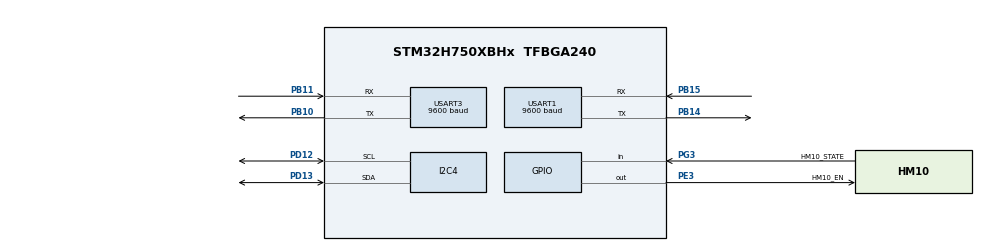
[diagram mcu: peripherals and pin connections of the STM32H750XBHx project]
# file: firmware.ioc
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CORTEX_M7.default_mode_Activation=1
I2C4.Timing=0x00707CBB
Mcu.Family=STM32H7
Mcu.Name=STM32H750XBHx
Mcu.Package=TFBGA240
NVIC.PriorityGroup=NVIC_PRIORITYGROUP_4
PB10.Mode=Asynchronous
PB10.Signal=USART3_TX
PB11.Mode=Asynchronous
PB11.Signal=USART3_RX
PB14.Mode=Asynchronous
PB14.Signal=USART1_TX
PB15.Mode=Asynchronous
PB15.Signal=USART1_RX
PD12.Mode=I2C
PD12.Signal=I2C4_SCL
PD13.Mode=I2C
PD13.Signal=I2C4_SDA
PE3.GPIO_Label=HM10_EN
PE3.PinState=GPIO_PIN_SET
PE3.Signal=GPIO_Output
PG3.GPIO_Label=HM10_STATE
PG3.Signal=GPIO_Input
ProjectManager.HeapSize=0x200
ProjectManager.StackSize=0x400
ProjectManager.TargetToolchain=CMake
RCC.ADCFreq_Value=129000000
RCC.APB1Freq_Value=32000000
RCC.APB2Freq_Value=32000000
RCC.APB3Freq_Value=64000000
RCC.APB4Freq_Value=32000000
RCC.CortexFreq_Value=64000000
RCC.D2PPRE1=RCC_APB1_DIV2
RCC.D2PPRE2=RCC_APB2_DIV2
RCC.D3PPRE=RCC_APB4_DIV2
RCC.HCLKFreq_Value=64000000
RCC.SYSCLKFreq_VALUE=64000000
RCC.USBFreq_Value=129000000
USART1.BaudRate=9600
USART1.VirtualMode-Asynchronous=VM_ASYNC
USART3.BaudRate=9600
USART3.VirtualMode-Asynchronous=VM_ASYNC
VP_FREERTOS_VS_CMSIS_V2.Mode=CMSIS_V2
VP_MEMORYMAP_VS_MEMORYMAP.Mode=CurAppReg
board=custom

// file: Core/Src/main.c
/* USER CODE BEGIN Header */
/**
  *=============================================================================
  * @file    : main.c
  * @brief   : Main program body
  *=============================================================================
  * @attention
  *
  * Copyright (c) 2026 STMicroelectronics.
  * All rights reserved.
  *
  * This software is licensed under terms that can be found in the LICENSE file
  * in the root directory of this software component.
  * If no LICENSE file comes with this software, it is provided AS-IS.
  *
  *=============================================================================
  */

/**=============================================================================
  * trail-hud hardware wiring
  * STM32H750B-DK + HM-10 AT-09 BLE + Keyestudio MPU-6050 + protoboard
  *
  *=============================================================================
  * PROTOBOARD / SHARED POWER BUSES
  *=============================================================================
  *
  * STM32H750B-DK CN3 pin 6 GND -> protoboard bus GND
  *
  *
  *=============================================================================
  * HM-10 BLE MODULE
  *=============================================================================
  *
  * STM32H750B-DK CN3 pin 5 5V -> HM-10 HM-10 AT-09 VCC
  * protoboard bus GND -> HM-10 HM-10 AT-09 GND
  *
  * HM-10 HM-10 AT-09 TXD / UART_TX -> STM32H750B-DK CN2 D11 / PB15 / USART1_RX
  * HM-10 HM-10 AT-09 RXD / UART_RX -> STM32H750B-DK STMod+ P1 pin 9 / PB14 / USART1_TX
  * HM-10 HM-10 AT-09 STATE -> STM32H750B-DK CN6 D2 / PG3
  * HM-10 HM-10 AT-09 EN -> STM32H750B-DK PE3
  *
  *
  *=============================================================================
  * KEYESTUDIO MPU-6050 GYROSCOPE / ACCELEROMETER MODULE
  *=============================================================================
  *
  * STM32H750B-DK CN3 pin 4 3V3 -> Keyestudio MPU-6050 VCC
  * protoboard bus GND -> Keyestudio MPU-6050 GND
  *
  * Keyestudio MPU-6050 SCL -> STM32H750B-DK CN2 D15 / PD12 / I2C4_SCL
  * Keyestudio MPU-6050 SDA -> STM32H750B-DK CN2 D14 / PD13 / I2C4_SDA
  * Keyestudio MPU-6050 AD0 -> protoboard bus GND
  * Keyestudio MPU-6050 INT -> STM32H750B-DK CN2 D9 / PH15
  *
  * Keyestudio MPU-6050 XDA -> no connection
  * Keyestudio MPU-6050 XCL -> no connection
  *
  *=============================================================================
  */

/**=============================================================================
  * SERIAL DEBUG TERMINAL / ST-LINK VIRTUAL COM PORT
  *=============================================================================
  *
  * Purpose:
  * - Use USART3 only for local PC-side firmware debugging.
  * - Keep USART3 separate from the HM-10 / BT05 / AT-09 BLE data path.
  *
  * Communication path:
  *   STM32 firmware -> USART3 -> ST-LINK Virtual COM Port -> PuTTY
  *
  * PuTTY settings:
  * - Port        : STMicroelectronics STLink Virtual COM Port
  * - Baud        : 9600
  * - Data bits   : 8
  * - Stop bits   : 1
  * - Parity      : None
  * - Flow control: None
  *
  * Notes:
  * - On Windows, use the COM port shown in Device Manager under
  *   "Ports (COM & LPT)".
  * - Expected debug output includes firmware status messages, HM-10 STATE
  *   changes, and USART1 receive logs.
  *
  *
  *=============================================================================
  * PHONE BLE TERMINAL / HM-10 UART BRIDGE
  *=============================================================================
  *
  * Purpose:
  * - Use the phone terminal to validate the BLE data path through the HM-10.
  * - Confirm both directions:
  *   - STM32 -> phone
  *   - phone -> STM32
  *
  * Communication path:
  *   Phone app <-> BLE <-> HM-10 <-> USART1 <-> STM32 firmware
  *
  * Recommended Android app:
  * - Serial Bluetooth Terminal by Kai Morich
  *
  * Serial Bluetooth Terminal app setup:
  * - Open Devices.
  * - Select the Bluetooth LE / BLE list, not Bluetooth Classic.
  * - Scan for BT05 or the configured HM-10 name (set to TRAIL-HUD by default).
  * - Connect and stay on the main terminal screen.
  *
  *
  *=============================================================================
  */
/* USER CODE END Header */
#include "main.h"
#include "FreeRTOS.h"
#include "cmsis_os2.h"

/* USER CODE BEGIN Includes */
#include "hm10.h"
#include "mpu6050.h"
#include "debug_terminal.h"
#include "trail_gui.h"
#include "stm32h750b_discovery_lcd.h"
#include "stm32_lcd.h"

#include "task.h"

#include <malloc.h>
#include <math.h>
#include <stdio.h>
#include <string.h>
/* USER CODE END Includes */

/* USER CODE BEGIN PTD */
typedef struct
{
    GPIO_TypeDef* GPIO_Port;
    uint16_t GPIO_Pin;
    uint16_t GPIO_DefaultState;
} LED_HandleTypeDef;

/**
 * @brief Lists the tilt alert stages reported to the phone over BLE.
 *
 * Values:
 * - TILT_ALERT_STATE_CLEAR: Tilt is under the warning threshold. The phone is
 *   not vibrating and a fresh warning crossing may fire again.
 * - TILT_ALERT_STATE_WARNING: Tilt crossed the warning threshold, so the phone
 *   was asked for one single vibration. Held so that staying tilted does not
 *   repeat the buzz on every poll.
 * - TILT_ALERT_STATE_CRITICAL: Tilt crossed the critical threshold and the
 *   phone is vibrating continuously. Only falling back under the warning
 *   threshold releases it, not merely dropping under the critical one.
 */
typedef enum
{
    TILT_ALERT_STATE_CLEAR = 0,
    TILT_ALERT_STATE_WARNING,
    TILT_ALERT_STATE_CRITICAL,
} TrailHud_TiltAlertState;
/* USER CODE END PTD */

/* USER CODE BEGIN PD */
/* Board and system --------------------------------------------------------*/
#define TRAIL_HUD_LCD_INSTANCE 0U
#define TRAIL_HUD_LOADING_STAGE_COUNT 4U
#define LED_HANDLE_COUNT 3U
#define MPU6050_DEBUG_UPDATE_PERIOD_MS 1000U
#define HM10_DEBUG_UPDATE_PERIOD_MS 1000U
#define HM10_DROP_REPORT_PERIOD_MS 2000U

/* Phone render ------------------------------------------------------------*/
#define PHONE_RENDER_MARGIN 6U
#define PHONE_RENDER_PADDING 12U
#define PHONE_RENDER_LINE_WIDTH 1U
#define PHONE_RENDER_LINE_COLOR UTIL_LCD_COLOR_WHITE
#define PHONE_RENDER_CLEAR_COLOR UTIL_LCD_COLOR_BLACK

/* Tilt indicator render ---------------------------------------------------*/
#define TILT_RENDER_MARGIN 6U
#define TILT_RENDER_UPDATE_PERIOD_MS 500U
#define TILT_SAMPLE_PERIOD_MS 50U
#define TILT_FILTER_ALPHA 0.25f
#define TILT_RENDER_LINE_WIDTH TRAIL_GUI_LINE_WIDTH_THIN
#define TILT_RENDER_LINE_COLOR UTIL_LCD_COLOR_BLACK
#define TILT_RENDER_CLEAR_COLOR UTIL_LCD_COLOR_WHITE

/* Tilt alert --------------------------------------------------------------*/
#define TILT_ALERT_WARNING_DEG 20.0f
#define TILT_ALERT_CRITICAL_DEG 25.0f
#define TILT_ALERT_PACKET_SINGLE "trailhud:vibrate:once"
#define TILT_ALERT_PACKET_CONTINUOUS "trailhud:vibrate:start"
#define TILT_ALERT_PACKET_CLEAR "trailhud:vibrate:stop"
/* USER CODE END PD */

I2C_HandleTypeDef hi2c4;
UART_HandleTypeDef huart1;
UART_HandleTypeDef huart3;

/* USER CODE BEGIN PV */
static HM10_HandleTypeDef hm10;
static MPU6050_HandleTypeDef mpu6050;

/* HM-10 USART1 RX ISR state. These belong here, not in hm10.h, because only
 * HAL_UART_RxCpltCallback/HAL_UART_ErrorCallback below ever touch them. */
static uint8_t hm10_uart_rx_byte;
static uint16_t hm10_isr_line_len = 0U;
static char hm10_isr_line[HM10_DEFAULT_LINE_SIZE];

/* Set once a line outgrows hm10_isr_line, and cleared at the next newline.
 * Without it the tail of an over-long line would be parsed as a fresh packet. */
static uint8_t hm10_isr_line_overflow = 0U;

/* Counts render messages the ISR could not queue. Surfaced by MainThread so
 * backpressure shows up on the terminal instead of silently losing frames. */
static volatile uint32_t hm10_render_queue_drops = 0U;

osSemaphoreId_t hm10_top_led_semaphore;
osSemaphoreId_t hm10_bottom_led_semaphore;
osMessageQueueId_t hm10_render_queue;

static volatile uint8_t hm10_ping_reply_flag = 0U;
static volatile DebugTerminalMode debug_terminal_mode = DEBUG_TERMINAL_MODE_WAITING;
static volatile GPIO_PinState hm10_connection_state = GPIO_PIN_RESET;
static TrailHud_TiltAlertState tilt_alert_state = TILT_ALERT_STATE_CLEAR;

/* Set once the LCD is far enough up that TrailHud_Fatal can draw on it. */
static uint8_t trail_hud_lcd_ready = 0U;

/* Rolling average of the tilt samples, held as a packet so it can be handed
 * straight to the renderer. Primed by the first successful read. */
static MPU6050_DataPacket tilt_filtered_packet;
static uint8_t tilt_filter_primed = 0U;

/* Latches the one-shot warning about packets arriving while HM10_STATE is low. */
static uint8_t hm10_state_mismatch_reported = 0U;

static const LED_HandleTypeDef led_handles[LED_HANDLE_COUNT] = {
    {GPIOD, GPIO_PIN_3, GPIO_PIN_RESET},
    {GPIOJ, GPIO_PIN_2, GPIO_PIN_SET},
    {GPIOI, GPIO_PIN_13, GPIO_PIN_SET},
};
static const TrailGui_BoundingBox phone_render_bounds = {
    .x_min = 241U + (PHONE_RENDER_MARGIN + PHONE_RENDER_PADDING),
    .x_max = 479U - (PHONE_RENDER_MARGIN + PHONE_RENDER_PADDING),
    .y_min = 0U + (PHONE_RENDER_MARGIN + PHONE_RENDER_PADDING),
    .y_max = 239U - (PHONE_RENDER_MARGIN + PHONE_RENDER_PADDING),
};
static const TrailGui_BoundingBox phone_render_padding_bounds = {
    .x_min = phone_render_bounds.x_min - PHONE_RENDER_PADDING,
    .x_max = phone_render_bounds.x_max + PHONE_RENDER_PADDING,
    .y_min = phone_render_bounds.y_min - PHONE_RENDER_PADDING,
    .y_max = phone_render_bounds.y_max + PHONE_RENDER_PADDING,
};
static const TrailGui_BoundingBox phone_gps_bounds = {
    .x_min = phone_render_bounds.x_min,
    .x_max = phone_render_bounds.x_max,
    .y_min = phone_render_padding_bounds.y_max + (PHONE_RENDER_MARGIN + PHONE_RENDER_PADDING / 2),
    .y_max = 272U - (PHONE_RENDER_MARGIN + PHONE_RENDER_PADDING / 2),
};
static const TrailGui_BoundingBox phone_gps_padding_bounds = {
    .x_min = phone_gps_bounds.x_min - PHONE_RENDER_PADDING,
    .x_max = phone_gps_bounds.x_max + PHONE_RENDER_PADDING,
    .y_min = phone_gps_bounds.y_min - PHONE_RENDER_PADDING / 2,
    .y_max = phone_gps_bounds.y_max + PHONE_RENDER_PADDING / 2,
};
/* Inset from the gyroscope panel so the clear pass never paints over its
 * rounded corners, and so the widget stays centered on the panel itself. */
static const TrailGui_BoundingBox tilt_render_bounds = {
    .x_min = TRAIL_GUI_GYROSCOPE_BACKGROUND_X_MIN + TILT_RENDER_MARGIN,
    .x_max = TRAIL_GUI_GYROSCOPE_BACKGROUND_X_MAX - TILT_RENDER_MARGIN,
    .y_min = TRAIL_GUI_GYROSCOPE_BACKGROUND_Y_MIN + TILT_RENDER_MARGIN,
    .y_max = TRAIL_GUI_GYROSCOPE_BACKGROUND_Y_MAX - TILT_RENDER_MARGIN,
};

const osThreadAttr_t MainThread_attributes = {
    .name = "MainThread",
    .stack_size = 1024 * 4,
    .priority = (osPriority_t)osPriorityNormal,
};

const osThreadAttr_t HM10Thread_attributes = {
    .name = "HM10Thread",
    .stack_size = 1024 * 4,
    .priority = (osPriority_t)osPriorityNormal,
};
/* USER CODE END PV */

void SystemClock_Config(void);
static void MPU_Config(void);
static void MX_GPIO_Init(void);
static void MX_USART3_UART_Init(void);
static void MX_USART1_UART_Init(void);
static void MX_I2C4_Init(void);
void MainThread(void* argument);

/* USER CODE BEGIN PFP */
/* Board helpers */
static void LED_ToggleSequence(uint32_t delay_ms);
static void TrailHud_Fatal(const char* reason);

/* Tilt alerts */
static void TrailHud_UpdateTiltAlert(float tilt_deg);

/* LCD rendering */
static void TrailHud_ClearPhoneRenderArea(void);
static void TrailHud_RenderPhoneFrame(const HM10_DataPacket* hm10_packet);
static void TrailHud_SampleTilt(uint32_t* last_tick);
static void TrailHud_RenderTiltFrame(void);
static void TrailHud_UpdateTiltFrame(uint32_t* last_tick);

/* Debug terminal */
static uint8_t DebugTask_WaitForPingReply(uint32_t timeout_ms);
static void DebugTask_RunPingSequence(volatile DebugTerminalMode* debug_mode);
static void DebugTask_PrintMpu6050Data(uint32_t* last_tick);
static void DebugTask_ReportQueueDrops(uint32_t* reported_drops, uint32_t* last_tick);

/* RTOS threads */
void HM10_TopLEDThread(void* argument);
void HM10_BottomLEDThread(void* argument);
void HM10_Thread(void* argument);
/* USER CODE END PFP */

/* USER CODE BEGIN 0 */

/**
 * @brief Reports an unrecoverable start-up failure, then halts.
 * @param reason Short description of what failed; NULL is allowed and is
 *               printed as "(null)".
 * @return Never returns.
 *
 * Error_Handler() disables interrupts and spins, so on its own a failed sensor
 * leaves the loading bar frozen with nothing to explain it. Reporting has to
 * happen before that: the debug UART is brought up before the LCD and both
 * modules, so it can describe every failure the board can survive long enough
 * to notice, and the LCD carries the same text once it is available.
 */
static void TrailHud_Fatal(const char* reason)
{
    DebugTerminal_PrintLine(&huart3, reason);

    if (trail_hud_lcd_ready != 0U)
    {
        UTIL_LCD_SetFont(&Font12);
        UTIL_LCD_SetTextColor(UTIL_LCD_COLOR_RED);
        UTIL_LCD_SetBackColor(UTIL_LCD_COLOR_BLACK);
        UTIL_LCD_DisplayStringAt(TRAIL_GUI_SCREEN_MARGIN,
                                 TRAIL_GUI_SCREEN_HEIGHT - 20U,
                                 (uint8_t*)((reason != NULL) ? reason : "(null)"),
                                 LEFT_MODE);
    }

    Error_Handler();
}

/**
 * @brief Toggles a LED sequence, toggling all pins, defined in the led_handles array.
 * @param delay_ms Delay in milliseconds held after each individual LED
 *                 transition. Every LED is switched on for delay_ms and then
 *                 off for delay_ms before the next one starts, so the whole
 *                 sequence takes 2 * LED_HANDLE_COUNT * delay_ms.
 * @return None.
 */
static void LED_ToggleSequence(uint32_t delay_ms)
{
    for (uint16_t led = 0U; led < LED_HANDLE_COUNT; led++)
    {
        HAL_GPIO_TogglePin(led_handles[led].GPIO_Port, led_handles[led].GPIO_Pin);
        HAL_Delay(delay_ms);
        HAL_GPIO_TogglePin(led_handles[led].GPIO_Port, led_handles[led].GPIO_Pin);
        HAL_Delay(delay_ms);
    }
}

/**
 * @brief Drives the phone vibration alert from one tilt angle.
 * @param tilt_deg Tilt angle in degrees as reported by
 *                 TrailGui_TiltAngleFromAccelerometer. The sign only selects
 *                 the direction of the lean, so the thresholds are compared
 *                 against its magnitude and fire either way.
 * @return None.
 *
 * Sends a packet only on a stage change, so a steady lean costs one BLE write
 * rather than one per poll. Crossing TILT_ALERT_WARNING_DEG asks for a single
 * buzz; crossing TILT_ALERT_CRITICAL_DEG asks for continuous vibration that is
 * released only once the tilt falls back under TILT_ALERT_WARNING_DEG, so the
 * two thresholds form a hysteresis band that will not chatter around 25
 * degrees. Nothing is sent while the BLE link is down.
 */
static void TrailHud_UpdateTiltAlert(float tilt_deg)
{
    float tilt_magnitude_deg = fabsf(tilt_deg);
    const char* alert_packet = NULL;

    if (hm10_connection_state != GPIO_PIN_SET)
    {
        /* Nothing can be delivered, and the phone drops its own vibration when
         * the link goes away, so re-arm from a clean slate for the next one. */
        tilt_alert_state = TILT_ALERT_STATE_CLEAR;
        return;
    }

    if (tilt_alert_state == TILT_ALERT_STATE_CRITICAL)
    {
        if (tilt_magnitude_deg < TILT_ALERT_WARNING_DEG)
        {
            tilt_alert_state = TILT_ALERT_STATE_CLEAR;
            alert_packet = TILT_ALERT_PACKET_CLEAR "\r\n";
        }
    }
    else if (tilt_magnitude_deg >= TILT_ALERT_CRITICAL_DEG)
    {
        tilt_alert_state = TILT_ALERT_STATE_CRITICAL;
        alert_packet = TILT_ALERT_PACKET_CONTINUOUS "\r\n";
    }
    else if (tilt_magnitude_deg >= TILT_ALERT_WARNING_DEG)
    {
        if (tilt_alert_state == TILT_ALERT_STATE_CLEAR)
        {
            tilt_alert_state = TILT_ALERT_STATE_WARNING;
            alert_packet = TILT_ALERT_PACKET_SINGLE "\r\n";
        }
    }
    else
    {
        tilt_alert_state = TILT_ALERT_STATE_CLEAR;
    }

    if (alert_packet != NULL)
    {
        (void)HM10_SendString(&hm10, alert_packet);
    }
}

/**
 * @brief Fills the phone render area with the solid clear color.
 * @return None.
 */
static void TrailHud_ClearPhoneRenderArea(void)
{
    TrailGui_DrawRoundedRectangle(phone_render_bounds, 0U, PHONE_RENDER_CLEAR_COLOR);
    TrailGui_DrawRoundedRectangle(phone_gps_bounds, 0U, PHONE_RENDER_CLEAR_COLOR);
}

/**
 * @brief Redraws the phone orientation cuboid for one parsed HM-10 packet.
 * @param hm10_packet Parsed HM-10 data packet holding the phone orientation
 *                    quaternion fields; NULL is not allowed.
 * @return None.
 *
 * Deliberately not gated on hm10_connection_state. A packet that arrived and
 * parsed is proof the link is up, whatever the STATE pin reads, so gating here
 * could only ever discard data the board actually received.
 */
static void TrailHud_RenderPhoneFrame(const HM10_DataPacket* hm10_packet)
{
    if (hm10_packet == NULL)
    {
        return;
    }

    TrailHud_ClearPhoneRenderArea();
    TrailGui_RenderPhoneCuboid(hm10_packet,
                             phone_render_bounds,
                             PHONE_RENDER_LINE_WIDTH,
                             PHONE_RENDER_LINE_COLOR);
    TrailGui_RenderPhoneGps(hm10_packet, phone_gps_bounds, UTIL_LCD_COLOR_WHITE);
}

/**
 * @brief Samples the MPU-6050 and folds the reading into the tilt average.
 * @param last_tick Pointer to the HAL tick value recorded at the last sample.
 *                  NULL is not allowed. Updated on every attempt, whether the
 *                  sensor read succeeds or fails.
 * @return None.
 *
 * Sampling runs far faster than the widget redraws so the displayed angle is
 * an average rather than whatever single instant the redraw happened to land
 * on. The average is taken over the accelerometer components rather than the
 * derived angle: an exponential average across the +/-180 degree wrap would
 * drag the needle the long way round through the discontinuity.
 */
static void TrailHud_SampleTilt(uint32_t* last_tick)
{
    MPU6050_DataPacket packet;

    if ((HAL_GetTick() - *last_tick) < TILT_SAMPLE_PERIOD_MS)
    {
        return;
    }

    *last_tick = HAL_GetTick();

    if (MPU6050_ReadDataPacket(&mpu6050, &packet) != MPU6050_OK)
    {
        return;
    }

    if (tilt_filter_primed != 0U)
    {
        packet.accel_x_g = tilt_filtered_packet.accel_x_g +
            (TILT_FILTER_ALPHA * (packet.accel_x_g - tilt_filtered_packet.accel_x_g));
        packet.accel_y_g = tilt_filtered_packet.accel_y_g +
            (TILT_FILTER_ALPHA * (packet.accel_y_g - tilt_filtered_packet.accel_y_g));
    }

    tilt_filtered_packet = packet;
    tilt_filter_primed = 1U;
}

/**
 * @brief Redraws the tilt indicator widget from one fresh MPU-6050 sample.
 * @return None.
 *
 * The previous frame is erased before the new one is drawn, so the widget area
 * is left filled with TILT_RENDER_CLEAR_COLOR and never accumulates leftovers
 * from an earlier angle. A failed sensor read leaves the last drawn frame on
 * the LCD instead of blanking the widget. The same sample also drives the
 * phone vibration alert, so the alert runs at the redraw rate.
 */
static void TrailHud_RenderTiltFrame(void)
{
    if (tilt_filter_primed == 0U)
    {
        return;
    }

    TrailGui_DrawRoundedRectangle(tilt_render_bounds, 0U, TILT_RENDER_CLEAR_COLOR);
    TrailGui_RenderTiltIndicator(&tilt_filtered_packet,
                                 tilt_render_bounds,
                                 TILT_RENDER_LINE_WIDTH,
                                 TILT_RENDER_LINE_COLOR,
                                 TILT_RENDER_CLEAR_COLOR);
    TrailHud_UpdateTiltAlert(TrailGui_TiltAngleFromAccelerometer(&tilt_filtered_packet));
}

/**
 * @brief Redraws the tilt indicator widget at a fixed periodic interval.
 * @param last_tick Pointer to the HAL tick value recorded at the last redraw.
 *                  NULL is not allowed. Updated to the current tick after each
 *                  redraw attempt, whether the sensor read succeeds or fails.
 * @return None.
 */
static void TrailHud_UpdateTiltFrame(uint32_t* last_tick)
{
    if ((HAL_GetTick() - *last_tick) < TILT_RENDER_UPDATE_PERIOD_MS)
    {
        return;
    }

    TrailHud_RenderTiltFrame();

    *last_tick = HAL_GetTick();
}

/**
 * @brief Blocks until a ping reply is received over BLE or the timeout elapses.
 * @param timeout_ms Maximum time to wait for a matching reply in milliseconds.
 *                   The function yields to the RTOS scheduler between polls.
 * @return 1 when a ping reply was received before the timeout expired; 0 when
 *         the timeout elapsed without a matching reply.
 */
static uint8_t DebugTask_WaitForPingReply(uint32_t timeout_ms)
{
    uint32_t start_tick = HAL_GetTick();

    /* The caller arms hm10_ping_reply_flag before it transmits. Clearing it
     * here would discard a reply that had already arrived. */
    while ((HAL_GetTick() - start_tick) < timeout_ms)
    {
        if (hm10_ping_reply_flag != 0U)
        {
            hm10_ping_reply_flag = 0U;
            return 1U;
        }

        osDelay(1U);
    }

    return 0U;
}

/**
 * @brief Sends a fixed-count BLE ping sequence and reports each reply result.
 * @param debug_mode Pointer to the active debug terminal mode. NULL is not
 *                   allowed. Set to DEBUG_TERMINAL_MODE_WAITING after the
 *                   full sequence completes.
 * @return None.
 */
static void DebugTask_RunPingSequence(volatile DebugTerminalMode* debug_mode)
{
    DebugTerminal_PrintLine(&huart3, "BLE: pinging phone with 4 packets of data");

    for (uint8_t ping_index = 0U; ping_index < DEBUG_TERMINAL_PING_COUNT; ping_index++)
    {
        uint8_t reply_received = 0U;

        if (hm10_connection_state == GPIO_PIN_SET)
        {
            /* Armed before transmitting: a reply that lands while the ping is
             * still on the wire would otherwise be cleared by the waiter and
             * reported as no reply at all. */
            hm10_ping_reply_flag = 0U;

            if (HM10_SendString(&hm10, DEBUG_TERMINAL_PING_PACKET "\r\n") == HM10_OK)
            {
                reply_received = DebugTask_WaitForPingReply(DEBUG_TERMINAL_PING_TIMEOUT_MS);
            }
        }

        DebugTerminal_PrintLine(&huart3, (reply_received != 0U) ? "BLE: reply from phone" : "BLE: no reply");
        osDelay(500U);
    }

    *debug_mode = DEBUG_TERMINAL_MODE_WAITING;
    DebugTerminal_PrintMode(&huart3, *debug_mode);
}

/**
 * @brief Reports newly dropped render messages on the debug terminal.
 * @param reported_drops Pointer to the drop total already printed; NULL is not
 *                       allowed. Updated once the current total is reported.
 * @param last_tick Pointer to the HAL tick value recorded at the last report.
 *                  NULL is not allowed. Updated after each report.
 * @return None.
 *
 * The producers run in interrupt context and cannot block, so a full render
 * queue silently loses frames. Printing the running total turns that into
 * something the terminal states plainly instead of an unexplained gap in the
 * rendering. The interval matters as much as the count: a queue that stays
 * full would otherwise generate a report per loop pass and saturate the
 * 9600-baud debug link.
 */
static void DebugTask_ReportQueueDrops(uint32_t* reported_drops, uint32_t* last_tick)
{
    char text[48];
    uint32_t drops;

    if ((HAL_GetTick() - *last_tick) < HM10_DROP_REPORT_PERIOD_MS)
    {
        return;
    }

    drops = hm10_render_queue_drops;

    if (drops == *reported_drops)
    {
        return;
    }

    *reported_drops = drops;
    *last_tick = HAL_GetTick();

    snprintf(text, sizeof(text), "BLE: dropped %lu render packets", (unsigned long)drops);
    DebugTerminal_PrintLine(&huart3, text);
}

/**
 * @brief Reads and prints MPU-6050 sensor data at a fixed periodic interval.
 * @param last_tick Pointer to the HAL tick value recorded at the last print.
 *                  NULL is not allowed. Updated to the current tick after each
 *                  read attempt, whether the read succeeds or fails.
 * @return None.
 */
static void DebugTask_PrintMpu6050Data(uint32_t* last_tick)
{
    MPU6050_DataPacket packet;

    if ((HAL_GetTick() - *last_tick) < MPU6050_DEBUG_UPDATE_PERIOD_MS)
    {
        return;
    }

    MPU6050_StatusTypeDef status = MPU6050_ReadDataPacket(&mpu6050, &packet);

    if (status == MPU6050_OK)
    {
        DebugTerminal_PrintMpu6050Packet(&huart3, &packet);
    }
    else
    {
        DebugTerminal_PrintLine(&huart3, "MPU-6050: read failed");
    }

    *last_tick = HAL_GetTick();
}

/**
 * @brief Toggles the top green LED (PD3) for 100ms when a semaphore token is available.
 * @param argument Does not impact the result.
 * @return None.
 */
void HM10_TopLEDThread(void* argument)
{
    while (1)
    {
        osSemaphoreAcquire(hm10_top_led_semaphore, osWaitForever);
        HAL_GPIO_TogglePin(GPIOD, GPIO_PIN_3);
        osDelay(100);
        HAL_GPIO_TogglePin(GPIOD, GPIO_PIN_3);
    }
}

/**
 * @brief Toggles the bottom green LED (PJ2) for 100ms when a semaphore token is available.
 * @param argument Does not impact the result.
 * @return None.
 */
void HM10_BottomLEDThread(void* argument)
{
    while (1)
    {
        osSemaphoreAcquire(hm10_bottom_led_semaphore, osWaitForever);
        HAL_GPIO_TogglePin(GPIOJ, GPIO_PIN_2);
        osDelay(100);
        HAL_GPIO_TogglePin(GPIOJ, GPIO_PIN_2);
    }
}

/**
 * @brief Parses queued BLE lines and applies each message to the LCD/debug terminal.
 * @param argument Does not impact the result.
 * @return None.
 *
 * Phone packets arrive as raw text and are parsed here, in task context. The
 * PHONE DATA terminal output is emitted from this thread too, throttled to
 * HM10_DEBUG_UPDATE_PERIOD_MS: one formatted line costs roughly 150ms of
 * transmit time at 9600 baud, so an unthrottled BLE stream would queue up
 * faster than the debug UART can drain it.
 */
void HM10_Thread(void* argument)
{
    TrailGui_RenderWidgetPacket packet;
    uint32_t last_phone_print_tick = HAL_GetTick() - HM10_DEBUG_UPDATE_PERIOD_MS;

    while (1)
    {
        // Wait until the next render instruction is posted
        osMessageQueueGet(hm10_render_queue, &packet, NULL, osWaitForever);

        switch (packet.widget_state)
        {
        case RENDER_WIDGET_STATE_ACTIVE:
        {
            HM10_DataPacket data_packet;

            /* Parsed here rather than in the USART1 ISR. HM10_ParseDataPacket
             * runs eight strtod calls, and strtod reaches _Balloc and the libc
             * malloc behind it, which this build leaves unguarded. Task context
             * also gives it a 4KB stack instead of the 1KB main stack that every
             * interrupt shares. */
            if (HM10_ParseDataPacket(packet.line, &data_packet) == 0U)
            {
                break;
            }

            if ((hm10_connection_state != GPIO_PIN_SET) &&
                (hm10_state_mismatch_reported == 0U))
            {
                hm10_state_mismatch_reported = 1U;
                DebugTerminal_PrintLine(&huart3,
                                        "BLE: packets arriving while HM10_STATE reads low, check PG3");
            }

            TrailHud_RenderPhoneFrame(&data_packet);

            if ((debug_terminal_mode == DEBUG_TERMINAL_MODE_HM10_DATA) &&
                ((HAL_GetTick() - last_phone_print_tick) >= HM10_DEBUG_UPDATE_PERIOD_MS))
            {
                DebugTerminal_PrintPhonePacket(&huart3, &data_packet);
                last_phone_print_tick = HAL_GetTick();
            }

            break;
        }

        case RENDER_WIDGET_STATE_CONNECTED:
            DebugTerminal_PrintLine(&huart3, "BLE: connection established");
            break;

        case RENDER_WIDGET_STATE_IDLE:
        default:
            DebugTerminal_PrintLine(&huart3, "BLE: connection terminated");
            TrailHud_ClearPhoneRenderArea();

            UTIL_LCD_SetFont(&Font12);
            UTIL_LCD_SetTextColor(UTIL_LCD_COLOR_WHITE);
            UTIL_LCD_SetBackColor(UTIL_LCD_COLOR_BLACK);
            UTIL_LCD_DisplayStringAt((phone_render_bounds.x_max + phone_render_bounds.x_min) / 2U - 25U,
                                     (phone_render_bounds.y_max + phone_render_bounds.y_min) / 2U,
                                     (uint8_t*) "WAITING",
                                     LEFT_MODE);
            break;
        }
    }
}

/**
 * @brief The core thread.
 * @param argument Does not impact the result.
 * @return None.
 */
void MainThread(void* argument)
{
    uint32_t last_mpu6050_tick = HAL_GetTick() - MPU6050_DEBUG_UPDATE_PERIOD_MS;
    uint32_t last_tilt_tick = HAL_GetTick();
    uint32_t last_tilt_sample_tick = HAL_GetTick();
    uint32_t last_drop_report_tick = HAL_GetTick();
    uint32_t reported_queue_drops = 0U;

    DebugTerminal_PrintMode(&huart3, debug_terminal_mode);

    while (1)
    {
        DebugTerminal_HandleInput(&huart3, &debug_terminal_mode);
        TrailHud_SampleTilt(&last_tilt_sample_tick);
        TrailHud_UpdateTiltFrame(&last_tilt_tick);
        DebugTask_ReportQueueDrops(&reported_queue_drops, &last_drop_report_tick);

        /* PHONE DATA has no case here: the packets are parsed and printed by
         * HM10_Thread as they arrive, so there is nothing to poll for. */
        switch (debug_terminal_mode)
        {
        case DEBUG_TERMINAL_MODE_PINGS:
            DebugTask_RunPingSequence(&debug_terminal_mode);
            break;
        case DEBUG_TERMINAL_MODE_MPU6050_DATA:
            DebugTask_PrintMpu6050Data(&last_mpu6050_tick);
            break;
        default:
            break;
        }

        osDelay(1U);
    }
}
/* USER CODE END 0 */

int main(void)
{

    /* MPU Configuration--------------------------------------------------------*/
    MPU_Config();

    /* MCU Configuration--------------------------------------------------------*/

    /* Reset of all peripherals, Initializes the Flash interface and the Systick. */
    HAL_Init();

    /* Configure the system clock */
    SystemClock_Config();

    /* Initialize all configured peripherals */
    MX_GPIO_Init();
    MX_USART3_UART_Init();
    MX_USART1_UART_Init();
    MX_I2C4_Init();

    /* USER CODE BEGIN 2 */
    DebugTerminal_PrintTitle(&huart3);

    /* LCD Init ----------------------------------------------------------------*/
    if (BSP_LCD_Init(TRAIL_HUD_LCD_INSTANCE, LCD_ORIENTATION_LANDSCAPE) != BSP_ERROR_NONE)
    {
        TrailHud_Fatal("FATAL: LCD init failed");
    }

    BSP_LCD_DisplayOn(TRAIL_HUD_LCD_INSTANCE);
    BSP_LCD_SetBrightness(TRAIL_HUD_LCD_INSTANCE, 100U);
    BSP_LCD_SetActiveLayer(TRAIL_HUD_LCD_INSTANCE, 0U);
    UTIL_LCD_SetFuncDriver(&LCD_Driver);
    UTIL_LCD_SetLayer(0U);
    trail_hud_lcd_ready = 1U;
    TrailGui_DrawLoadingScreen(TRAIL_HUD_LOADING_STAGE_COUNT);

    DebugTerminal_PrintLine(&huart3, "DEBUG: initialized LCD");
    TrailGui_ExpandLoadingBar(1U, TRAIL_HUD_LOADING_STAGE_COUNT);

    /* HM-10 Init --------------------------------------------------------------*/
    if (HM10_Init(&hm10, &huart1) != HM10_OK)
    {
        TrailHud_Fatal("FATAL: HM-10 handle init failed");
    }

    if (HM10_SetNameAndReset(&hm10, "TRAIL-HUD", 1000U) != HM10_OK)
    {
        TrailHud_Fatal("FATAL: HM-10 not responding on USART1");
    }

    HAL_NVIC_SetPriority(USART1_IRQn, 5, 0);
    HAL_NVIC_EnableIRQ(USART1_IRQn);

    /* Armed here rather than alongside the RTOS objects, which is several
     * seconds of LED sequencing and sensor start-up later; anything the phone
     * sent in that window used to be lost. The receive interrupt only touches
     * the queue and semaphores through NULL checks, so it is safe this early.
     * Clearing the overrun flag and reading RDR first discards the byte the
     * module's own reset reply leaves sitting in the register, which would
     * otherwise become the first character of the first line. */
    __HAL_UART_CLEAR_OREFLAG(&huart1);
    (void)huart1.Instance->RDR;
    HAL_UART_Receive_IT(&huart1, &hm10_uart_rx_byte, 1U);

    DebugTerminal_PrintLine(&huart3, "DEBUG: initialized HM-10 on USART1");
    TrailGui_ExpandLoadingBar(2U, TRAIL_HUD_LOADING_STAGE_COUNT);

    /* MPU6050 Init ------------------------------------------------------------*/
    if (MPU6050_Init(&mpu6050, &hi2c4, MPU6050_DEFAULT_I2C_ADDRESS) != MPU6050_OK)
    {
        TrailHud_Fatal("FATAL: MPU-6050 not responding on I2C4");
    }

    DebugTerminal_PrintLine(&huart3, "DEBUG: initialized MPU-6050 on I2C4");
    TrailGui_ExpandLoadingBar(3U, TRAIL_HUD_LOADING_STAGE_COUNT);

    /* LED Init ----------------------------------------------------------------*/
    /* GPIOD is already clocked by MX_GPIO_Init(). */
    __HAL_RCC_GPIOC_CLK_ENABLE();
    __HAL_RCC_GPIOI_CLK_ENABLE();
    __HAL_RCC_GPIOJ_CLK_ENABLE();

    GPIO_InitTypeDef GPIO_InitStruct = {0};
    GPIO_InitStruct.Mode = GPIO_MODE_OUTPUT_PP;
    GPIO_InitStruct.Pull = GPIO_NOPULL;
    GPIO_InitStruct.Speed = GPIO_SPEED_FREQ_LOW;
    for (uint16_t led = 0U; led < LED_HANDLE_COUNT; led++)
    {
        GPIO_InitStruct.Pin = led_handles[led].GPIO_Pin;
        HAL_GPIO_Init(led_handles[led].GPIO_Port, &GPIO_InitStruct);
        HAL_GPIO_WritePin(led_handles[led].GPIO_Port, led_handles[led].GPIO_Pin, led_handles[led].GPIO_DefaultState);
    }

    LED_ToggleSequence(450U);

    DebugTerminal_PrintLine(&huart3, "DEBUG: initialized LED");
    TrailGui_ExpandLoadingBar(4U, TRAIL_HUD_LOADING_STAGE_COUNT);
    HAL_Delay(1000U);

    TrailGui_DrawDefaultScreen();

    uint32_t tilt_prime_tick = HAL_GetTick() - TILT_SAMPLE_PERIOD_MS;
    TrailHud_SampleTilt(&tilt_prime_tick);
    TrailHud_RenderTiltFrame();
    TrailGui_DrawBoundingRectangle(phone_render_padding_bounds, 10U, UTIL_LCD_COLOR_WHITE);
    TrailGui_DrawBoundingRectangle(phone_gps_padding_bounds, 10U, UTIL_LCD_COLOR_WHITE);

    UTIL_LCD_SetFont(&Font12);
    UTIL_LCD_SetTextColor(UTIL_LCD_COLOR_WHITE);
    UTIL_LCD_SetBackColor(UTIL_LCD_COLOR_BLACK);
    UTIL_LCD_DisplayStringAt((phone_render_padding_bounds.x_max + phone_render_padding_bounds.x_min) / 2U - 45U,
                             phone_render_padding_bounds.y_min + 2U,
                             (uint8_t*) "DEVICE RENDER",
                             LEFT_MODE);
    /* USER CODE END 2 */

    /* Init scheduler */
    osKernelInitialize();
    DebugTerminal_Init();

    /* USER CODE BEGIN RTOS_SEMAPHORES */
    hm10_top_led_semaphore = osSemaphoreNew(1, 0, NULL);
    hm10_bottom_led_semaphore = osSemaphoreNew(1, 0, NULL);

    if ((hm10_top_led_semaphore == NULL) || (hm10_bottom_led_semaphore == NULL))
    {
        TrailHud_Fatal("FATAL: LED semaphore allocation failed");
    }
    /* USER CODE END RTOS_SEMAPHORES */

    /* USER CODE BEGIN RTOS_QUEUES */
    hm10_render_queue = osMessageQueueNew(16, sizeof(TrailGui_RenderWidgetPacket), NULL);

    if (hm10_render_queue == NULL)
    {
        TrailHud_Fatal("FATAL: render queue allocation failed");
    }

    hm10_connection_state = HAL_GPIO_ReadPin(HM10_STATE_GPIO_Port, HM10_STATE_Pin);
    DebugTerminal_PrintLine(&huart3,
                            (hm10_connection_state == GPIO_PIN_SET)
                                ? "BLE: connection established"
                                : "BLE: connection terminated");

    TrailGui_RenderWidgetPacket initial_render_packet = {0};
    initial_render_packet.widget_state = (hm10_connection_state == GPIO_PIN_SET)
                                              ? RENDER_WIDGET_STATE_CONNECTED
                                              : RENDER_WIDGET_STATE_IDLE;
    osMessageQueuePut(hm10_render_queue, &initial_render_packet, 0U, 0U);

    HAL_NVIC_SetPriority(EXTI3_IRQn, 6, 0);
    HAL_NVIC_EnableIRQ(EXTI3_IRQn);
    /* USER CODE END RTOS_QUEUES */

    /* USER CODE BEGIN RTOS_THREADS */
    if ((osThreadNew(HM10_TopLEDThread, NULL, NULL) == NULL) ||
        (osThreadNew(HM10_BottomLEDThread, NULL, NULL) == NULL) ||
        (osThreadNew(HM10_Thread, NULL, &HM10Thread_attributes) == NULL) ||
        (osThreadNew(MainThread, NULL, &MainThread_attributes) == NULL))
    {
        TrailHud_Fatal("FATAL: thread allocation failed");
    }
    /* USER CODE END RTOS_THREADS */

    /* Start scheduler */
    osKernelStart();

    /* We should never get here as control is now taken by the scheduler */

    /* Infinite loop */
    while (1)
    {

    }
}

void SystemClock_Config(void)
{
    RCC_OscInitTypeDef RCC_OscInitStruct = {0};
    RCC_ClkInitTypeDef RCC_ClkInitStruct = {0};

    HAL_PWREx_ConfigSupply(PWR_LDO_SUPPLY);
    __HAL_PWR_VOLTAGESCALING_CONFIG(PWR_REGULATOR_VOLTAGE_SCALE1);

    while (!__HAL_PWR_GET_FLAG(PWR_FLAG_VOSRDY))
    {
    }

    RCC_OscInitStruct.OscillatorType = RCC_OSCILLATORTYPE_HSE;
    RCC_OscInitStruct.HSEState = RCC_HSE_ON;
    RCC_OscInitStruct.HSIState = RCC_HSI_OFF;
    RCC_OscInitStruct.CSIState = RCC_CSI_OFF;
    RCC_OscInitStruct.PLL.PLLState = RCC_PLL_ON;
    RCC_OscInitStruct.PLL.PLLSource = RCC_PLLSOURCE_HSE;
    RCC_OscInitStruct.PLL.PLLM = 5;
    RCC_OscInitStruct.PLL.PLLN = 160;
    RCC_OscInitStruct.PLL.PLLFRACN = 0;
    RCC_OscInitStruct.PLL.PLLP = 2;
    RCC_OscInitStruct.PLL.PLLR = 2;
    RCC_OscInitStruct.PLL.PLLQ = 4;
    RCC_OscInitStruct.PLL.PLLVCOSEL = RCC_PLL1VCOWIDE;
    RCC_OscInitStruct.PLL.PLLRGE = RCC_PLL1VCIRANGE_2;

    if (HAL_RCC_OscConfig(&RCC_OscInitStruct) != HAL_OK)
    {
        Error_Handler();
    }

    RCC_ClkInitStruct.ClockType = RCC_CLOCKTYPE_HCLK | RCC_CLOCKTYPE_SYSCLK |
        RCC_CLOCKTYPE_PCLK1 | RCC_CLOCKTYPE_PCLK2 |
        RCC_CLOCKTYPE_D3PCLK1 | RCC_CLOCKTYPE_D1PCLK1;
    RCC_ClkInitStruct.SYSCLKSource = RCC_SYSCLKSOURCE_PLLCLK;
    RCC_ClkInitStruct.SYSCLKDivider = RCC_SYSCLK_DIV1;
    RCC_ClkInitStruct.AHBCLKDivider = RCC_HCLK_DIV2;
    RCC_ClkInitStruct.APB3CLKDivider = RCC_APB3_DIV2;
    RCC_ClkInitStruct.APB1CLKDivider = RCC_APB1_DIV2;
    RCC_ClkInitStruct.APB2CLKDivider = RCC_APB2_DIV2;
    RCC_ClkInitStruct.APB4CLKDivider = RCC_APB4_DIV2;

    if (HAL_RCC_ClockConfig(&RCC_ClkInitStruct, FLASH_LATENCY_4) != HAL_OK)
    {
        Error_Handler();
    }
}

static void MX_I2C4_Init(void)
{

    hi2c4.Instance = I2C4;
    hi2c4.Init.Timing = 0x00707CBB;
    hi2c4.Init.OwnAddress1 = 0;
    hi2c4.Init.AddressingMode = I2C_ADDRESSINGMODE_7BIT;
    hi2c4.Init.DualAddressMode = I2C_DUALADDRESS_DISABLE;
    hi2c4.Init.OwnAddress2 = 0;
    hi2c4.Init.OwnAddress2Masks = I2C_OA2_NOMASK;
    hi2c4.Init.GeneralCallMode = I2C_GENERALCALL_DISABLE;
    hi2c4.Init.NoStretchMode = I2C_NOSTRETCH_DISABLE;

    if (HAL_I2C_Init(&hi2c4) != HAL_OK)
    {
        Error_Handler();
    }

    /** Configure Analogue filter */
    if (HAL_I2CEx_ConfigAnalogFilter(&hi2c4, I2C_ANALOGFILTER_ENABLE) != HAL_OK)
    {
        Error_Handler();
    }

    /** Configure Digital filter */
    if (HAL_I2CEx_ConfigDigitalFilter(&hi2c4, 0) != HAL_OK)
    {
        Error_Handler();
    }

}

static void MX_USART1_UART_Init(void)
{

    huart1.Instance = USART1;
    huart1.Init.BaudRate = 9600;
    huart1.Init.WordLength = UART_WORDLENGTH_8B;
    huart1.Init.StopBits = UART_STOPBITS_1;
    huart1.Init.Parity = UART_PARITY_NONE;
    huart1.Init.Mode = UART_MODE_TX_RX;
    huart1.Init.HwFlowCtl = UART_HWCONTROL_NONE;
    huart1.Init.OverSampling = UART_OVERSAMPLING_16;
    huart1.Init.OneBitSampling = UART_ONE_BIT_SAMPLE_DISABLE;
    huart1.Init.ClockPrescaler = UART_PRESCALER_DIV1;
    huart1.AdvancedInit.AdvFeatureInit = UART_ADVFEATURE_NO_INIT;

    if (HAL_UART_Init(&huart1) != HAL_OK)
    {
        Error_Handler();
    }

    if (HAL_UARTEx_SetTxFifoThreshold(&huart1, UART_TXFIFO_THRESHOLD_1_8) != HAL_OK)
    {
        Error_Handler();
    }

    if (HAL_UARTEx_SetRxFifoThreshold(&huart1, UART_RXFIFO_THRESHOLD_1_8) != HAL_OK)
    {
        Error_Handler();
    }

    if (HAL_UARTEx_DisableFifoMode(&huart1) != HAL_OK)
    {
        Error_Handler();
    }

}

static void MX_USART3_UART_Init(void)
{

    huart3.Instance = USART3;
    huart3.Init.BaudRate = 9600;
    huart3.Init.WordLength = UART_WORDLENGTH_8B;
    huart3.Init.StopBits = UART_STOPBITS_1;
    huart3.Init.Parity = UART_PARITY_NONE;
    huart3.Init.Mode = UART_MODE_TX_RX;
    huart3.Init.HwFlowCtl = UART_HWCONTROL_NONE;
    huart3.Init.OverSampling = UART_OVERSAMPLING_16;
    huart3.Init.OneBitSampling = UART_ONE_BIT_SAMPLE_DISABLE;
    huart3.Init.ClockPrescaler = UART_PRESCALER_DIV1;
    huart3.AdvancedInit.AdvFeatureInit = UART_ADVFEATURE_NO_INIT;

    if (HAL_UART_Init(&huart3) != HAL_OK)
    {
        Error_Handler();
    }

    if (HAL_UARTEx_SetTxFifoThreshold(&huart3, UART_TXFIFO_THRESHOLD_1_8) != HAL_OK)
    {
        Error_Handler();
    }

    if (HAL_UARTEx_SetRxFifoThreshold(&huart3, UART_RXFIFO_THRESHOLD_1_8) != HAL_OK)
    {
        Error_Handler();
    }

    if (HAL_UARTEx_DisableFifoMode(&huart3) != HAL_OK)
    {
        Error_Handler();
    }

}

static void MX_GPIO_Init(void)
{
    GPIO_InitTypeDef GPIO_InitStruct = {0};

    /* GPIO Ports Clock Enable */
    __HAL_RCC_GPIOE_CLK_ENABLE();
    __HAL_RCC_GPIOG_CLK_ENABLE();
    __HAL_RCC_GPIOB_CLK_ENABLE();
    __HAL_RCC_GPIOD_CLK_ENABLE();

    /*Configure GPIO pin Output Level */
    HAL_GPIO_WritePin(HM10_EN_GPIO_Port, HM10_EN_Pin, GPIO_PIN_SET);

    /*Configure GPIO pin : HM10_EN_Pin */
    GPIO_InitStruct.Pin = HM10_EN_Pin;
    GPIO_InitStruct.Mode = GPIO_MODE_OUTPUT_PP;
    GPIO_InitStruct.Pull = GPIO_NOPULL;
    GPIO_InitStruct.Speed = GPIO_SPEED_FREQ_LOW;
    HAL_GPIO_Init(HM10_EN_GPIO_Port, &GPIO_InitStruct);

    /*Configure GPIO pin : HM10_STATE_Pin */
    GPIO_InitStruct.Pin = HM10_STATE_Pin;
    GPIO_InitStruct.Mode = GPIO_MODE_IT_RISING_FALLING;
    GPIO_InitStruct.Pull = GPIO_NOPULL;
    HAL_GPIO_Init(HM10_STATE_GPIO_Port, &GPIO_InitStruct);

}

/* USER CODE BEGIN 4 */
/**
 * @brief Serialises newlib heap access against the FreeRTOS scheduler.
 * @param reent Reentrancy structure supplied by newlib; not used.
 * @return None.
 *
 * newlib ships __retarget_lock_acquire_recursive as an empty stub, so the libc
 * heap had no mutual exclusion at all. It is reachable from more places than it
 * looks: strtod calls _Balloc for its bigint path, and snprintf can allocate
 * too, so two threads could interleave inside malloc and corrupt the heap.
 * Suspending the scheduler is sufficient only because the BLE receive path no
 * longer parses in interrupt context; nothing may call this from an ISR.
 */
void __malloc_lock(struct _reent* reent)
{
    (void)reent;
    vTaskSuspendAll();
}

/**
 * @brief Releases the newlib heap lock taken by __malloc_lock.
 * @param reent Reentrancy structure supplied by newlib; not used.
 * @return None.
 */
void __malloc_unlock(struct _reent* reent)
{
    (void)reent;
    (void)xTaskResumeAll();
}

/**
 * @brief Re-arms USART1 byte reception after a UART error.
 * @param huart UART handle reporting the error; only USART1 is handled.
 * @return None.
 */
void HAL_UART_ErrorCallback(UART_HandleTypeDef* huart)
{
    if (huart->Instance == USART1)
    {
        HAL_UART_Receive_IT(&huart1, &hm10_uart_rx_byte, 1U);
    }
}

/**
 * @brief Assembles and dispatches one line received on the HM-10 UART.
 * @param huart UART handle reporting the completed byte reception; only
 *              USART1 is handled.
 * @return None.
 *
 * Runs in interrupt context, one byte per call. '\r' is ignored, '\n'
 * terminates and dispatches the accumulated line, any other byte is
 * appended to hm10_isr_line. A completed ping-reply line releases
 * hm10BottomLED and sets hm10_ping_reply_flag. A completed data packet is
 * parsed and, on success, copied *by value* into a TrailGui_RenderWidgetPacket
 * message and posted to hm10RenderInstructionQueue so HM10_Thread can render
 * it outside of interrupt context.
 */
void HAL_UART_RxCpltCallback(UART_HandleTypeDef* huart)
{
    if (huart->Instance == USART1)
    {
        uint8_t byte = hm10_uart_rx_byte;

        HAL_UART_Receive_IT(&huart1, &hm10_uart_rx_byte, 1U);

        if (byte == '\r')
        {
            return;
        }

        if (byte == '\n')
        {
            hm10_isr_line[hm10_isr_line_len] = '\0';

            if ((hm10_isr_line_len > 0U) && (hm10_isr_line_overflow == 0U))
            {
                if (strcmp(hm10_isr_line, DEBUG_TERMINAL_PING_REPLY) == 0)
                {
                    if (hm10_bottom_led_semaphore != NULL)
                    {
                        osSemaphoreRelease(hm10_bottom_led_semaphore);
                    }

                    hm10_ping_reply_flag = 1U;
                }
                else
                {
                    if (hm10_top_led_semaphore != NULL)
                    {
                        osSemaphoreRelease(hm10_top_led_semaphore);
                    }

                    /* Hand the raw text to HM10_Thread and let it parse there.
                     * Parsing here would put strtod, and the libc malloc it can
                     * reach, inside an interrupt running on the 1KB main stack. */
                    if ((hm10_isr_line_len < TRAIL_GUI_RENDER_LINE_SIZE) &&
                        (hm10_render_queue != NULL))
                    {
                        TrailGui_RenderWidgetPacket render_packet = {0};

                        render_packet.widget_state = RENDER_WIDGET_STATE_ACTIVE;
                        memcpy(render_packet.line,
                               hm10_isr_line,
                               (size_t)hm10_isr_line_len + 1U);

                        if (osMessageQueuePut(hm10_render_queue, &render_packet, 0U, 0U) != osOK)
                        {
                            hm10_render_queue_drops++;
                        }
                    }
                }
            }

            hm10_isr_line_len = 0U;
            hm10_isr_line[0] = '\0';
            hm10_isr_line_overflow = 0U;
            return;
        }

        if (hm10_isr_line_len < (HM10_DEFAULT_LINE_SIZE - 1U))
        {
            hm10_isr_line[hm10_isr_line_len++] = (char)byte;
        }
        else
        {
            /* Keep swallowing bytes until the next newline resynchronises the
             * stream, so the tail of an over-long line is never mistaken for
             * the start of a fresh packet. */
            hm10_isr_line_overflow = 1U;
        }
    }
}

/**
 * @brief Updates the cached HM-10 connection state and notifies HM10_Thread.
 * @param GPIO_Pin Pin number that triggered the EXTI line; only
 *                 HM10_STATE_Pin is handled.
 * @return None.
 *
 * Fires on both edges of HM10_STATE_Pin. This is the only interrupt-time
 * caller of HAL_GPIO_ReadPin() for this pin; every other consumer reads the
 * cached hm10_connection_state value instead. Posts a lightweight
 * RENDER_WIDGET_STATE_CONNECTED or RENDER_WIDGET_STATE_IDLE message so
 * HM10_Thread performs the actual LCD/debug-terminal update outside of
 * interrupt context.
 */
void HAL_GPIO_EXTI_Callback(uint16_t GPIO_Pin)
{
    if (GPIO_Pin == HM10_STATE_Pin)
    {
        hm10_connection_state = HAL_GPIO_ReadPin(HM10_STATE_GPIO_Port, HM10_STATE_Pin);

        TrailGui_RenderWidgetPacket render_packet = {0};

        render_packet.widget_state = (hm10_connection_state == GPIO_PIN_SET)
                                          ? RENDER_WIDGET_STATE_CONNECTED
                                          : RENDER_WIDGET_STATE_IDLE;

        if (osMessageQueuePut(hm10_render_queue, &render_packet, 0U, 0U) != osOK)
        {
            hm10_render_queue_drops++;
        }
    }
}

/* USER CODE END 4 */

/* MPU Configuration */
void MPU_Config(void)
{
    MPU_Region_InitTypeDef MPU_InitStruct = {0};

    HAL_MPU_Disable();

    /*
     * Region 0: default protection region.
     * This is your existing generated region.
     */
    MPU_InitStruct.Enable = MPU_REGION_ENABLE;
    MPU_InitStruct.Number = MPU_REGION_NUMBER0;
    MPU_InitStruct.BaseAddress = 0x00000000U;
    MPU_InitStruct.Size = MPU_REGION_SIZE_4GB;
    MPU_InitStruct.SubRegionDisable = 0x87;
    MPU_InitStruct.TypeExtField = MPU_TEX_LEVEL0;
    MPU_InitStruct.AccessPermission = MPU_REGION_NO_ACCESS;
    MPU_InitStruct.DisableExec = MPU_INSTRUCTION_ACCESS_DISABLE;
    MPU_InitStruct.IsShareable = MPU_ACCESS_SHAREABLE;
    MPU_InitStruct.IsCacheable = MPU_ACCESS_NOT_CACHEABLE;
    MPU_InitStruct.IsBufferable = MPU_ACCESS_NOT_BUFFERABLE;

    HAL_MPU_ConfigRegion(&MPU_InitStruct);

    /*
     * Region 1: external SDRAM / LCD framebuffer.
     *
     * LCD_LAYER_0_ADDRESS in the working BSP project is 0xD0000000.
     * Use a non-cacheable region so CPU pixel writes are visible to LTDC.
     */
    MPU_InitStruct.Enable = MPU_REGION_ENABLE;
    MPU_InitStruct.Number = MPU_REGION_NUMBER1;
    MPU_InitStruct.BaseAddress = 0xD0000000U;
    MPU_InitStruct.Size = MPU_REGION_SIZE_4MB;
    MPU_InitStruct.SubRegionDisable = 0x00;
    MPU_InitStruct.TypeExtField = MPU_TEX_LEVEL1;
    MPU_InitStruct.AccessPermission = MPU_REGION_FULL_ACCESS;
    MPU_InitStruct.DisableExec = MPU_INSTRUCTION_ACCESS_DISABLE;
    MPU_InitStruct.IsShareable = MPU_ACCESS_NOT_SHAREABLE;
    MPU_InitStruct.IsCacheable = MPU_ACCESS_NOT_CACHEABLE;
    MPU_InitStruct.IsBufferable = MPU_ACCESS_NOT_BUFFERABLE;

    HAL_MPU_ConfigRegion(&MPU_InitStruct);
    HAL_MPU_Enable(MPU_PRIVILEGED_DEFAULT);
}

void Error_Handler(void)
{
    __disable_irq();
    while (1)
    {
    }
}

#ifdef USE_FULL_ASSERT
/**
  * @brief  Reports the name of the source file and the source line number
  *         where the assert_param error has occurred.
  * @param  file: pointer to the source file name
  * @param  line: assert_param error line source number
  * @retval None
  */
void assert_failed(uint8_t* file, uint32_t line)
{
    /* USER CODE BEGIN 6 */
    (void)file;
    (void)line;
    /* USER CODE END 6 */
}
#endif /* USE_FULL_ASSERT */
